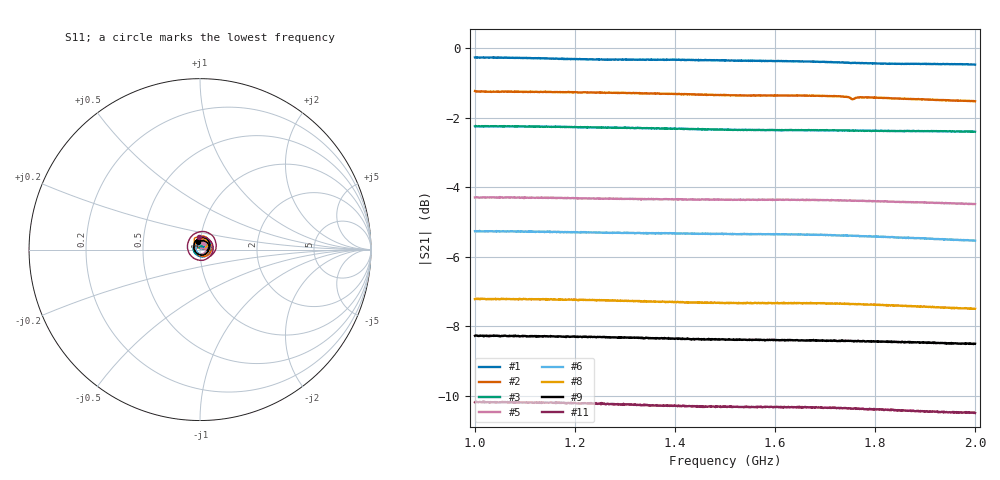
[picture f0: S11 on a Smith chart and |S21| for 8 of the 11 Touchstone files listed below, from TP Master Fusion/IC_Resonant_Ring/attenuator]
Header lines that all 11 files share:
#  HZ  S  DB  R  50.00
! Rohde & Schwarz Vector Network Analyzer
! Rohde-Schwarz,ZNB8-4Port,1311601044102961,2.82
! freq[Hz]  db:S11  ang:S11  db:S21  ang:S21  db:S12  ang:S12  db:S22  ang:S22
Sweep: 1 GHz to 2 GHz
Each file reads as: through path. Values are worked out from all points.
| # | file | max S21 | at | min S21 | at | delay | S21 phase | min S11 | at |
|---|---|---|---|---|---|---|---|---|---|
| 1 | attenuator_00.s2p | -0.26 dB | 1.004 GHz | -0.5 dB | 1.998 GHz | 1.66 ns | -179 deg at 1.5 GHz | -37.3 dB | 1.656 GHz |
| 2 | attenuator_01.s2p | -1.23 dB | 1 GHz | -1.5 dB | 1.998 GHz | 1.67 ns | -179 deg at 1.5 GHz | -37.1 dB | 1.592 GHz |
| 3 | attenuator_02.s2p | -2.24 dB | 1.001 GHz | -2.4 dB | 1.991 GHz | 1.66 ns | -179 deg at 1.5 GHz | -44.6 dB | 1.977 GHz |
| 4 | attenuator_03.s2p | -3.01 dB | 1.008 GHz | -3.2 dB | 1.988 GHz | 1.66 ns | -179 deg at 1.5 GHz | -25.6 dB | 1.55 GHz |
| 5 | attenuator_04.s2p | -4.28 dB | 1.05 GHz | -4.5 dB | 1.987 GHz | 1.66 ns | -178 deg at 1.5 GHz | -41.9 dB | 1.996 GHz |
| 6 | attenuator_05.s2p | -5.25 dB | 1.009 GHz | -5.5 dB | 1.998 GHz | 1.66 ns | -178 deg at 1.5 GHz | -33.6 dB | 1.492 GHz |
| 7 | attenuator_06.s2p | -6.34 dB | 1 GHz | -6.6 dB | 1.996 GHz | 1.66 ns | -177 deg at 1.5 GHz | -22.7 dB | 1.536 GHz |
| 8 | attenuator_07.s2p | -7.20 dB | 1.041 GHz | -7.5 dB | 1.992 GHz | 1.66 ns | -178 deg at 1.5 GHz | -30.8 dB | 1.476 GHz |
| 9 | attenuator_08.s2p | -8.26 dB | 1.002 GHz | -8.5 dB | 1.997 GHz | 1.66 ns | -177 deg at 1.5 GHz | -31.0 dB | 1.45 GHz |
| 10 | attenuator_09.s2p | -9.39 dB | 1.006 GHz | -9.7 dB | 1.997 GHz | 1.66 ns | -174 deg at 1.5 GHz | -29.1 dB | 1.509 GHz |
| 11 | attenuator_10.s2p | -10.16 dB | 1.016 GHz | -10.5 dB | 1.998 GHz | 1.66 ns | -177 deg at 1.5 GHz | -24.3 dB | 1.411 GHz |
